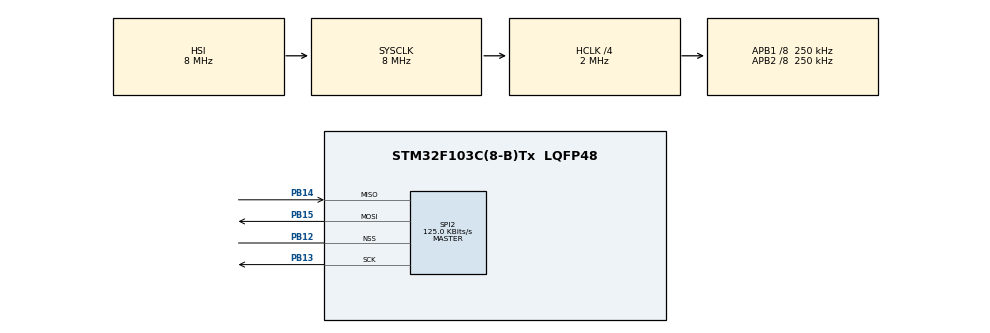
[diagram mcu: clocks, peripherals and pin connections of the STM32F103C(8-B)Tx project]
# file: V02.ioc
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Mcu.Family=STM32F1
Mcu.Name=STM32F103C(8-B)Tx
Mcu.Package=LQFP48
NVIC.PriorityGroup=NVIC_PRIORITYGROUP_4
PA13.Mode=Serial_Wire
PA13.Signal=SYS_JTMS-SWDIO
PA14.Mode=Serial_Wire
PA14.Signal=SYS_JTCK-SWCLK
PB12.Mode=NSS_Signal_Hard
PB12.Signal=SPI2_NSS
PB13.Mode=Full_Duplex_Master
PB13.Signal=SPI2_SCK
PB14.Mode=Full_Duplex_Master
PB14.Signal=SPI2_MISO
PB15.Mode=Full_Duplex_Master
PB15.Signal=SPI2_MOSI
ProjectManager.TargetToolchain=SW4STM32
RCC.AHBCLKDivider=RCC_SYSCLK_DIV4
RCC.AHBFreq_Value=2000000
RCC.APB1CLKDivider=RCC_HCLK_DIV8
RCC.APB1Freq_Value=250000
RCC.APB1TimFreq_Value=500000
RCC.APB2CLKDivider=RCC_HCLK_DIV8
RCC.APB2Freq_Value=250000
RCC.APB2TimFreq_Value=500000
RCC.HCLKFreq_Value=2000000
RCC.PLLMUL=RCC_PLL_MUL9
RCC.SYSCLKFreq_VALUE=8000000
RCC.USBFreq_Value=36000000
SPI2.CalculateBaudRate=125.0 KBits/s
SPI2.Mode=SPI_MODE_MASTER
SPI2.VirtualNSS=VM_NSSHARD
board=V02

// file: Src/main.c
/**
  ******************************************************************************
  * File Name          : main.c
  * Description        : Main program body
  ******************************************************************************
  *
  * COPYRIGHT(c) 2015 STMicroelectronics
  *
  * Redistribution and use in source and binary forms, with or without modification,
  * are permitted provided that the following conditions are met:
  *   1. Redistributions of source code must retain the above copyright notice,
  *      this list of conditions and the following disclaimer.
  *   2. Redistributions in binary form must reproduce the above copyright notice,
  *      this list of conditions and the following disclaimer in the documentation
  *      and/or other materials provided with the distribution.
  *   3. Neither the name of STMicroelectronics nor the names of its contributors
  *      may be used to endorse or promote products derived from this software
  *      without specific prior written permission.
  *
  * THIS SOFTWARE IS PROVIDED BY THE COPYRIGHT HOLDERS AND CONTRIBUTORS "AS IS"
  * AND ANY EXPRESS OR IMPLIED WARRANTIES, INCLUDING, BUT NOT LIMITED TO, THE
  * IMPLIED WARRANTIES OF MERCHANTABILITY AND FITNESS FOR A PARTICULAR PURPOSE ARE
  * DISCLAIMED. IN NO EVENT SHALL THE COPYRIGHT HOLDER OR CONTRIBUTORS BE LIABLE
  * FOR ANY DIRECT, INDIRECT, INCIDENTAL, SPECIAL, EXEMPLARY, OR CONSEQUENTIAL
  * DAMAGES (INCLUDING, BUT NOT LIMITED TO, PROCUREMENT OF SUBSTITUTE GOODS OR
  * SERVICES; LOSS OF USE, DATA, OR PROFITS; OR BUSINESS INTERRUPTION) HOWEVER
  * CAUSED AND ON ANY THEORY OF LIABILITY, WHETHER IN CONTRACT, STRICT LIABILITY,
  * OR TORT (INCLUDING NEGLIGENCE OR OTHERWISE) ARISING IN ANY WAY OUT OF THE USE
  * OF THIS SOFTWARE, EVEN IF ADVISED OF THE POSSIBILITY OF SUCH DAMAGE.
  *
  ******************************************************************************
  */
#include "stm32f1xx_hal.h"

/* USER CODE BEGIN Includes */
#include <string.h>
/* USER CODE END Includes */

SPI_HandleTypeDef hspi2;

/* USER CODE BEGIN PV */
/* Private variables ---------------------------------------------------------*/
uint8_t dump[10]={0xFF,0xFF,0xFF,0xFF,0xFF,0xFF,0xFF,0xFF,0xFF,0xFF},
cmd0[8]={0x40,0x00,0x00,0x00,0x00,0x95,0xFF,0xFF},
cmd1[8]={0x41,0x00,0x00,0x00,0x00,0x01,0xFF,0xFF}, response_0[128], response_1[2048], SD_OK_FLAG = 0;
uint32_t response1;

/* USER CODE END PV */

void SystemClock_Config(void);
static void MX_GPIO_Init(void);
static void MX_SPI2_Init(void);

/* USER CODE BEGIN PFP */
/* Private function prototypes -----------------------------------------------*/

/* USER CODE END PFP */

int main(void)
{

  /* USER CODE BEGIN 1 */
  memset(response_0, 0x03, 4);
  memset(response_1, 0x03, 512);

  /* USER CODE END 1 */

  /* MCU Configuration----------------------------------------------------------*/

  /* Reset of all peripherals, Initializes the Flash interface and the Systick. */
  HAL_Init();

  /* Configure the system clock */
  SystemClock_Config();

  /* Initialize all configured peripherals */
  MX_GPIO_Init();
  MX_SPI2_Init();

  /* USER CODE BEGIN 2 */
	GPIOB -> BRR = GPIO_PIN_2;
  /* USER CODE END 2 */

  /* Infinite loop */
  /* USER CODE BEGIN WHILE */

	for (int k=0; k< 10000; k++);
	GPIOB -> BSRR = GPIO_PIN_12;
	HAL_SPI_Transmit(&hspi2, dump, 7, 0xF);
//	for (int k=0; k< 100; k++);
	GPIOB -> BRR = GPIO_PIN_12;
	while (1);
	HAL_SPI_Transmit(&hspi2, cmd0, 6, 0xF);
	HAL_SPI_Receive(&hspi2, response_0, 64, 0xF);
	GPIOB -> BSRR = GPIO_PIN_12;
	for (int i = 0; i < 64; i++){
	if (response_0[i] == 0x01){
	SD_OK_FLAG=1;

	break;
	}
	}
	if (SD_OK_FLAG != 1){
	GPIOB -> BSRR = GPIO_PIN_2;
	while (1);
	} else {

	}
//while(1){
	GPIOB -> BRR = GPIO_PIN_12;
//	for (int i=0; i<2048;i++){
	HAL_SPI_Transmit(&hspi2, cmd1, 6 , 0xFF);
	HAL_SPI_Receive(&hspi2, response_1,2048, 0xF);
	GPIOB -> BSRR = GPIO_PIN_12;
//	for (int k=0; k<10;k++);
//}
  while (1)
  {
  /* USER CODE END WHILE */

  }

}

/** System Clock Configuration
*/
void SystemClock_Config(void)
{

  RCC_OscInitTypeDef RCC_OscInitStruct;
  RCC_ClkInitTypeDef RCC_ClkInitStruct;

  RCC_OscInitStruct.OscillatorType = RCC_OSCILLATORTYPE_HSI;
  RCC_OscInitStruct.HSIState = RCC_HSI_ON;
  RCC_OscInitStruct.HSICalibrationValue = 16;
  RCC_OscInitStruct.PLL.PLLState = RCC_PLL_NONE;
  HAL_RCC_OscConfig(&RCC_OscInitStruct);

  RCC_ClkInitStruct.ClockType = RCC_CLOCKTYPE_HCLK|RCC_CLOCKTYPE_SYSCLK
                              |RCC_CLOCKTYPE_PCLK1|RCC_CLOCKTYPE_PCLK2;
  RCC_ClkInitStruct.SYSCLKSource = RCC_SYSCLKSOURCE_HSI;
  RCC_ClkInitStruct.AHBCLKDivider = RCC_SYSCLK_DIV4;
  RCC_ClkInitStruct.APB1CLKDivider = RCC_HCLK_DIV8;
  RCC_ClkInitStruct.APB2CLKDivider = RCC_HCLK_DIV8;
  HAL_RCC_ClockConfig(&RCC_ClkInitStruct, FLASH_LATENCY_0);

  HAL_SYSTICK_Config(HAL_RCC_GetHCLKFreq()/1000);

  HAL_SYSTICK_CLKSourceConfig(SYSTICK_CLKSOURCE_HCLK);

}

/* SPI2 init function */
void MX_SPI2_Init(void)
{

  hspi2.Instance = SPI2;
  hspi2.Init.Mode = SPI_MODE_MASTER;
  hspi2.Init.Direction = SPI_DIRECTION_2LINES;
  hspi2.Init.DataSize = SPI_DATASIZE_8BIT;
  hspi2.Init.CLKPolarity = SPI_POLARITY_LOW;
  hspi2.Init.CLKPhase = SPI_PHASE_1EDGE;
  hspi2.Init.NSS = SPI_NSS_SOFT;
  hspi2.Init.BaudRatePrescaler = SPI_BAUDRATEPRESCALER_64;
  hspi2.Init.FirstBit = SPI_FIRSTBIT_MSB;
  hspi2.Init.TIMode = SPI_TIMODE_DISABLED;
  hspi2.Init.CRCCalculation = SPI_CRCCALCULATION_DISABLED;
  hspi2.Init.CRCPolynomial = 10;
  HAL_SPI_Init(&hspi2);

}

/** Configure pins as
        * Analog
        * Input
        * Output
        * EVENT_OUT
        * EXTI
*/
void MX_GPIO_Init(void)
{

  /* GPIO Ports Clock Enable */
  __GPIOB_CLK_ENABLE();
  __GPIOA_CLK_ENABLE();

}

/************************ (C) COPYRIGHT STMicroelectronics *****END OF FILE****/
